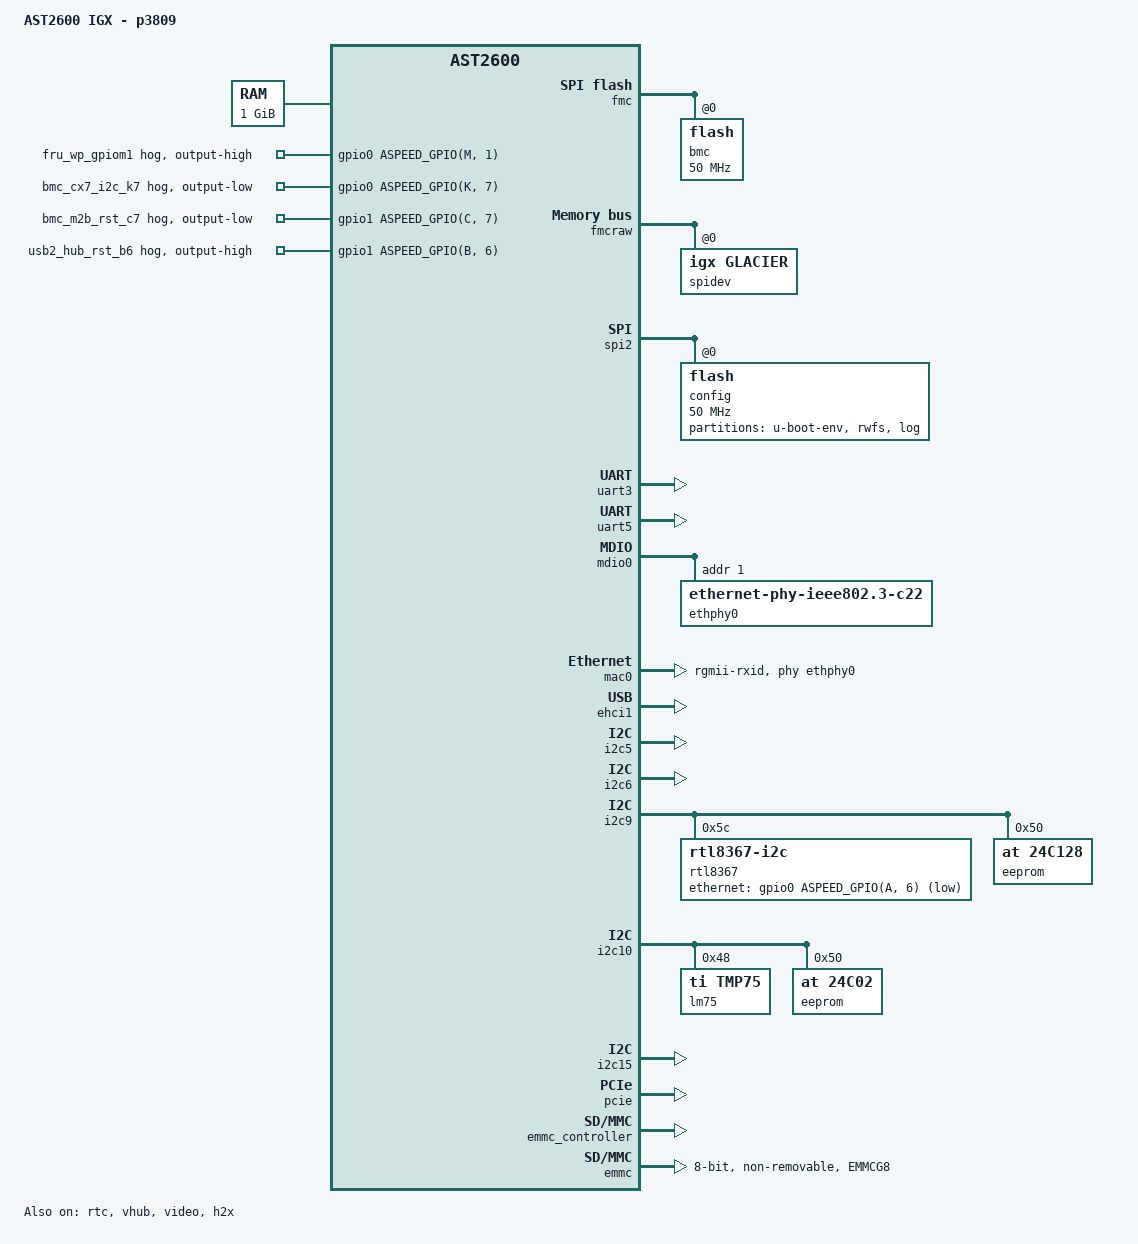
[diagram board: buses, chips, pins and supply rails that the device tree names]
// SPDX-License-Identifier: GPL-2.0+
/dts-v1/;

#include "aspeed-g6.dtsi"
#include <dt-bindings/gpio/aspeed-gpio.h>
#include <dt-bindings/leds/common.h>

/ {
       model = "AST2600 IGX - p3809";
       compatible = "aspeed,ast2600";

       aliases {
               serial4 = &uart5;
       };

       chosen {
               stdout-path = &uart5;
               bootargs = "console=ttyS4,115200n8 root=/dev/ram rw earlyprintk";
       };

       memory@80000000 {
               reg = <0x80000000 0x40000000>;
       };

       reserved-memory {
		#address-cells = <1>;
		#size-cells = <1>;
		ranges;

		vga_memory: framebuffer@9f000000 {
			no-map;
			reg = <0x9f000000 0x01000000>; /* 16M */
		};

		ramoops@a0000000 {
			compatible = "ramoops";
			reg = <0xa0000000 0x100000>; /* 1MB */
			record-size = <0x10000>; /* 64KB */
			max-reason = <2>; /* KMSG_DUMP_OOPS */
		};

		gfx_memory: framebuffer {
			size = <0x01000000>;
			alignment = <0x01000000>;
			compatible = "shared-dma-pool";
			reusable;
		};

		video_engine_memory: jpegbuffer {
			size = <0x02000000>;	/* 32M */
			alignment = <0x01000000>;
			compatible = "shared-dma-pool";
			reusable;
		};

	};

};

&pinctrl {
	pinctrl_gpioj0_unbiased_default: gpioj0 {
						pins = "B20";
						bias-disable;
					};

	pinctrl_gpioj1_unbiased_default: gpioj1 {
						pins = "A20";
						bias-disable;
					};

	pinctrl_gpioj2_unbiased_default: gpioj2 {
						pins = "E19";
						bias-disable;
					};

	pinctrl_gpioj3_unbiased_default: gpioj3 {
						pins = "D20";
						bias-disable;
					};

	pinctrl_gpioj4_unbiased_default: gpioj4 {
						pins = "C19";
						bias-disable;
					};

	pinctrl_gpioj5_unbiased_default: gpioj5 {
						pins = "A19";
						bias-disable;
					};

	pinctrl_gpioj6_unbiased_default: gpioj6 {
						pins = "C20";
						bias-disable;
					};

	pinctrl_gpioj7_unbiased_default: gpioj7 {
						pins = "D19";
						bias-disable;
					};

};

&gpio0 {
	pinctrl-names = "default";
	pinctrl-0 = <&pinctrl_gpioj0_unbiased_default &pinctrl_gpioj1_unbiased_default &pinctrl_gpioj2_unbiased_default
			&pinctrl_gpioj3_unbiased_default &pinctrl_gpioj4_unbiased_default &pinctrl_gpioj5_unbiased_default
			&pinctrl_gpioj6_unbiased_default &pinctrl_gpioj7_unbiased_default>;
        gpio-line-names =
        /*A0-A7*/       "","","mod_shutdown","","bmc_gpio_n0","tlf_aurix_reset_i2c","bmc_i2c10_en","VM_EN1",
        /*B0-B7*/       "","","","","","","","",
        /*C0-C7*/       "","","soc_reset","soc_safestate","","","vmon_irq","",
        /*D0-D7*/       "soc_pwr_req","bmc_pwr_btn_n","bmc_rec_btn_n","","","","","",
        /*E0-E7*/       "","","","bmc_gpio_e3","","","","",
        /*F0-F7*/       "","","","","","","","",
        /*G0-G7*/       "","bmc_gpiog1","bmc_gpiog2","bmc_gpiog3","","","","",
        /*H0-H7*/       "","","","","bmc_gpio_n1","tlf_aurix_hwcfg3","","",
        /*I0-I7*/       "","","","","","","global_wp","",
        /*J0-J7*/       "carrier_pwr_on","","","pwr_irq","ephy_irq","ephy_rst","soc_temp_alert","shifter_enable_uart",
        /*K0-K7*/       "","aurix_int","","","","","bmc_rst_btn_n","bmc_cx7_i2csw",
        /*L0-L7*/       "","shifter_enable_gpio","","","","","","",
        /*M0-M7*/       "","","","hpm_stby_en","","","","",
        /*N0-N7*/       "","","","","","","","",
        /*O0-O7*/       "","","","","","","","",
        /*P0-P7*/       "","","","","","","","",
        /*Q0-Q7*/       "","","","","","","","",
        /*R0-R7*/       "","sp0_ap_intr","","","","","","",
        /*S0-S7*/       "","","","","","","","",
        /*T0-T7*/       "","","","","","","","",
        /*U0-U7*/       "","","","","","","","",
        /*V0-V7*/       "","","","","","","","",
        /*W0-W7*/       "","","","","","","","",
        /*X0-X7*/       "","","","","","","","",
        /*Y0-Y7*/       "","","","","","","","",
        /*Z0-Z7*/       "","","","","","","","";

	/* Keep GPIOM1 output direction to feed in FRU */
	fru_wp_gpiom1 {
                 gpio-hog;
                 gpios = <ASPEED_GPIO(M, 1) GPIO_ACTIVE_HIGH>;
                 output-high;
        };
       
        bmc_cx7_i2c_k7 {
                 gpio-hog;
                 gpios = <ASPEED_GPIO(K, 7) GPIO_ACTIVE_HIGH>;
                 output-low;
        };

};

&gpio1 {
        gpio-line-names =
        /*A0-A7*/     "","","","","","","","",
        /*B0-B7*/     "","","","","","","","",
        /*C0-C7*/     "","","","","","","bmc_m2b_disable","",
        /*D0-D7*/     "","","","","","","","",
        /*E0-E7*/     "","","","","","","","";

        bmc_m2b_rst_c7 {
                 gpio-hog;
                 gpios = <ASPEED_GPIO(C, 7) GPIO_ACTIVE_HIGH>;
                 output-low;
        };

        usb2_hub_rst_b6 {
                 gpio-hog;
                 gpios = <ASPEED_GPIO(B, 6) GPIO_ACTIVE_HIGH>;
                 output-high;
        };
};

/* Primary flash - FMC */
&fmc {
       status = "okay";
       flash@0 {
               status = "okay";
               m25p,fast-read;
               label = "bmc";
               spi-max-frequency = <50000000>;
	       #include "aspeed-bmc-nvidia-igx-flash-layout-64.dtsi"
       };
};

&fmcraw {
         status = "okay";
         spidev@0 {
                  compatible = "igx,glacier";
                  status = "okay";
         };
};

&spi2 {
       status = "okay";
       pinctrl-names = "default";
        pinctrl-0 = <&pinctrl_spi2_default>;
       flash@0 {
               status = "okay";
               label = "config";
               spi-max-frequency = <50000000>;
               partitions {
                       compatible = "fixed-partitions";
                       #address-cells = <1>;
                       #size-cells = <1>;

                       u-boot-env@0 {
                               reg = <0x0 0x40000>;				// 256KB at offset 0
                               label = "u-boot-env";
                       };

                       rwfs@40000 {
                               reg = <0x40000 0x1000000>;		// 16MB at offset 0x40000
                               label = "rwfs";
                       };

                       log@3800000 {
                               reg = <0x1040000 0x2800000>;		// 40MB at offset 0x1040000
                               label = "log";
                       };
               };
       };
};

&rtc {
        status = "okay";
};

&uart3 {
       // Host  Debug Console
       status = "okay";
};

&uart5 {
       // BMC Debug Console
       status = "okay";
};

&mdio0 {
       status = "okay";
       ethphy0: ethernet-phy@1 {
               compatible = "ethernet-phy-ieee802.3-c22";
               reg = <1>;
       };
};

/* MAC1 of SoC connected to external PHY */
&mac0 {
       status = "okay";
       phy-mode = "rgmii-rxid";
       phy-handle = <&ethphy0>;

       pinctrl-names = "default";
       pinctrl-0 = <&pinctrl_rgmii1_default>;
};

&ehci0 {
   status = "disabled";
};

&vhub {
       status = "okay";
       pinctrl-names = "default";
       pinctrl-0 = <&pinctrl_usb2adp_default>;
};

&video {
	status = "okay";
	memory-region = <&video_engine_memory>;
};

/* Tegra USB Path */
&ehci1 {
   status = "okay";
};

&i2c5 {
    status = "okay";
};

&i2c6 {
    status = "okay";
};

&i2c9 {
        status = "okay";
        rtl8367@5c {
                compatible = "rtl8367-i2c";
		ethernet-gpios = <&gpio0 ASPEED_GPIO(A, 6) GPIO_ACTIVE_LOW>;
                reg = <0x5c>;
        };

	eeprom@50 {
		compatible = "at,24c128";
		reg = <0x50>;
	};
};

&i2c10 {
    status = "okay";
    lm75@48 {
        compatible = "ti,tmp75";
        reg = <0x48>;
    };

    eeprom@50 {
	    compatible = "at,24c02";
	    reg = <0x50>;
    };
};

&i2c15 {
       status = "okay";
    };

// PCIe RC
&pcie {
        status = "okay";

        interrupts = <GIC_SPI 168 IRQ_TYPE_LEVEL_HIGH>;

        pcie_intc0: legacy-interrupt-controller {
                interrupts = <GIC_SPI 168 IRQ_TYPE_EDGE_RISING>;
        };
};
// Bridge between AHB bus and PCIe RC.
&h2x {
        status = "okay";
};

&pinctrl {
	pinctrl_emmcg8_default: emmcg8_default {
		function = "EMMC";
		groups = "EMMCG8";
};
};

/* Enable emmc */
&emmc_controller {
        status = "okay";
};

&emmc {
        non-removable;
        bus-width = <8>;
        max-frequency = <200000000>;
	pinctrl-0 = <&pinctrl_emmcg8_default>;
	clk-phase-mmc-hs200 = <9>, <225>;

};

